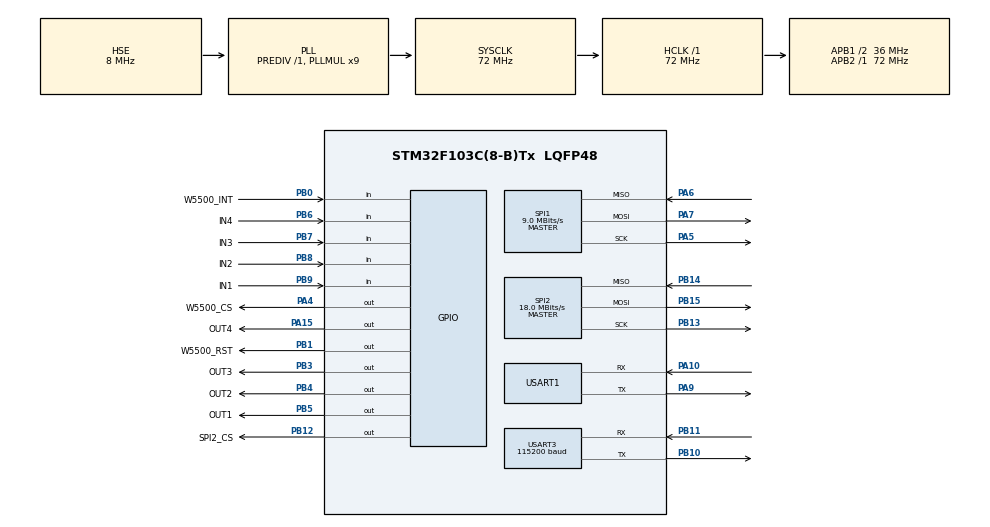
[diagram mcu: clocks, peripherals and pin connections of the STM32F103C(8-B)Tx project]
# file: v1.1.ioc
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Dma.Request0=USART1_RX
Dma.Request1=USART3_RX
Dma.USART1_RX.0.Direction=DMA_PERIPH_TO_MEMORY
Dma.USART1_RX.0.Instance=DMA1_Channel5
Dma.USART1_RX.0.MemDataAlignment=DMA_MDATAALIGN_BYTE
Dma.USART1_RX.0.MemInc=DMA_MINC_ENABLE
Dma.USART1_RX.0.Mode=DMA_NORMAL
Dma.USART1_RX.0.PeriphDataAlignment=DMA_PDATAALIGN_BYTE
Dma.USART1_RX.0.PeriphInc=DMA_PINC_DISABLE
Dma.USART1_RX.0.Priority=DMA_PRIORITY_LOW
Dma.USART3_RX.1.Direction=DMA_PERIPH_TO_MEMORY
Dma.USART3_RX.1.Instance=DMA1_Channel3
Dma.USART3_RX.1.MemDataAlignment=DMA_MDATAALIGN_BYTE
Dma.USART3_RX.1.MemInc=DMA_MINC_ENABLE
Dma.USART3_RX.1.Mode=DMA_NORMAL
Dma.USART3_RX.1.PeriphDataAlignment=DMA_PDATAALIGN_BYTE
Dma.USART3_RX.1.PeriphInc=DMA_PINC_DISABLE
Dma.USART3_RX.1.Priority=DMA_PRIORITY_LOW
Mcu.Family=STM32F1
Mcu.Name=STM32F103C(8-B)Tx
Mcu.Package=LQFP48
NVIC.DMA1_Channel3_IRQn=true\:0\:0\:false\:false\:true\:false\:true\:true
NVIC.DMA1_Channel5_IRQn=true\:0\:0\:false\:false\:true\:false\:true\:true
NVIC.PriorityGroup=NVIC_PRIORITYGROUP_4
NVIC.TIM2_IRQn=true\:0\:0\:false\:false\:true\:true\:true\:true
NVIC.USART1_IRQn=true\:0\:0\:false\:false\:true\:true\:true\:true
NVIC.USART3_IRQn=true\:0\:0\:false\:false\:true\:true\:true\:true
PA10.Mode=Asynchronous
PA10.Signal=USART1_RX
PA13.Mode=Serial_Wire
PA13.Signal=SYS_JTMS-SWDIO
PA14.Mode=Serial_Wire
PA14.Signal=SYS_JTCK-SWCLK
PA15.GPIO_Label=OUT4
PA15.Signal=GPIO_Output
PA4.GPIO_Label=W5500_CS
PA4.Signal=GPIO_Output
PA5.Mode=Full_Duplex_Master
PA5.Signal=SPI1_SCK
PA6.Mode=Full_Duplex_Master
PA6.Signal=SPI1_MISO
PA7.Mode=Full_Duplex_Master
PA7.Signal=SPI1_MOSI
PA9.Mode=Asynchronous
PA9.Signal=USART1_TX
PB0.GPIO_Label=W5500_INT
PB0.Signal=GPIO_Input
PB1.GPIO_Label=W5500_RST
PB1.GPIO_Speed=GPIO_SPEED_FREQ_MEDIUM
PB1.Signal=GPIO_Output
PB10.Mode=Asynchronous
PB10.Signal=USART3_TX
PB11.Mode=Asynchronous
PB11.Signal=USART3_RX
PB12.GPIO_Label=SPI2_CS
PB12.GPIO_Speed=GPIO_SPEED_FREQ_HIGH
PB12.PinState=GPIO_PIN_SET
PB12.Signal=GPIO_Output
PB13.Mode=Full_Duplex_Master
PB13.Signal=SPI2_SCK
PB14.Mode=Full_Duplex_Master
PB14.Signal=SPI2_MISO
PB15.Mode=Full_Duplex_Master
PB15.Signal=SPI2_MOSI
PB3.GPIO_Label=OUT3
PB3.Signal=GPIO_Output
PB4.GPIO_Label=OUT2
PB4.Signal=GPIO_Output
PB5.GPIO_Label=OUT1
PB5.Signal=GPIO_Output
PB6.GPIO_Label=IN4
PB6.Signal=GPIO_Input
PB7.GPIO_Label=IN3
PB7.Signal=GPIO_Input
PB8.GPIO_Label=IN2
PB8.Signal=GPIO_Input
PB9.GPIO_Label=IN1
PB9.Signal=GPIO_Input
PC14-OSC32_IN.Mode=LSE-External-Oscillator
PC14-OSC32_IN.Signal=RCC_OSC32_IN
PC15-OSC32_OUT.Mode=LSE-External-Oscillator
PC15-OSC32_OUT.Signal=RCC_OSC32_OUT
PD0-OSC_IN.Mode=HSE-External-Oscillator
PD0-OSC_IN.Signal=RCC_OSC_IN
PD1-OSC_OUT.Mode=HSE-External-Oscillator
PD1-OSC_OUT.Signal=RCC_OSC_OUT
ProjectManager.HeapSize=0x200
ProjectManager.StackSize=0x400
ProjectManager.TargetToolchain=MDK-ARM V5.32
RCC.AHBFreq_Value=72000000
RCC.APB1CLKDivider=RCC_HCLK_DIV2
RCC.APB1Freq_Value=36000000
RCC.APB1TimFreq_Value=72000000
RCC.APB2Freq_Value=72000000
RCC.APB2TimFreq_Value=72000000
RCC.HCLKFreq_Value=72000000
RCC.PLLMUL=RCC_PLL_MUL9
RCC.PLLSourceVirtual=RCC_PLLSOURCE_HSE
RCC.SYSCLKFreq_VALUE=72000000
RCC.SYSCLKSource=RCC_SYSCLKSOURCE_PLLCLK
RCC.USBFreq_Value=72000000
SPI1.BaudRatePrescaler=SPI_BAUDRATEPRESCALER_8
SPI1.CalculateBaudRate=9.0 MBits/s
SPI1.Direction=SPI_DIRECTION_2LINES
SPI1.Mode=SPI_MODE_MASTER
SPI1.VirtualType=VM_MASTER
SPI2.CalculateBaudRate=18.0 MBits/s
SPI2.Direction=SPI_DIRECTION_2LINES
SPI2.Mode=SPI_MODE_MASTER
SPI2.VirtualType=VM_MASTER
TIM2.Period=10000-1
TIM2.Prescaler=7200-1
USART1.VirtualMode=VM_ASYNC
USART3.BaudRate=115200
USART3.VirtualMode=VM_ASYNC
VP_TIM2_VS_ClockSourceINT.Mode=Internal
board=custom

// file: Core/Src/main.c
/* USER CODE BEGIN Header */
/**
  ******************************************************************************
  * @file           : main.c
  * @brief          : Main program body
  ******************************************************************************
  * @attention
  *
  * Copyright (c) 2026 STMicroelectronics.
  * All rights reserved.
  *
  * This software is licensed under terms that can be found in the LICENSE file
  * in the root directory of this software component.
  * If no LICENSE file comes with this software, it is provided AS-IS.
  *
  ******************************************************************************
  */
/* USER CODE END Header */
#include "main.h"
#include "dma.h"
#include "spi.h"
#include "tim.h"
#include "usart.h"
#include "gpio.h"

/* USER CODE BEGIN Includes */
#include "digital.h"
#include "stdio.h"

#include "lfs_user.h"
#include "msh.h"
#include "app_w25qxx.h"
#include "app_w5500.h"

/* USER CODE END Includes */

void SystemClock_Config(void);

/* USER CODE BEGIN 0 */
uint8_t u1_rx[256];
uint8_t u3_rx[256];

#define COUNT 1024
/* Redirect printf to USART1 */

int fputc(int ch, FILE *f)
{
  HAL_UART_Transmit(&huart1, (uint8_t*)&ch, 1, HAL_MAX_DELAY);
	return ch;
}

/* network information */
uint8_t test = 0;
uint32_t boot = 0;
/* USER CODE END 0 */

int main(void)
{

  /* MCU Configuration--------------------------------------------------------*/

  /* Reset of all peripherals, Initializes the Flash interface and the Systick. */
  HAL_Init();

  /* Configure the system clock */
  SystemClock_Config();

  /* Initialize all configured peripherals */
  MX_GPIO_Init();
  MX_DMA_Init();
  MX_USART1_UART_Init();
  MX_USART3_UART_Init();
  MX_SPI1_Init();
  MX_TIM2_Init();
  MX_SPI2_Init();
  /* USER CODE BEGIN 2 */
	HAL_UARTEx_ReceiveToIdle_DMA(&huart1 , u1_rx , sizeof(u1_rx));
	HAL_UARTEx_ReceiveToIdle_DMA(&huart3 , u3_rx , sizeof(u3_rx));
	HAL_TIM_Base_Start_IT(&htim2);
		/* wizchip init */

	lfs_info_init(1);
	test_folder_and_file();
	/* read flash dest ip and port*/
	lfs_user_read(dir_path , dest_ip_path , socket_0_tcp_dest_ip , sizeof(socket_0_tcp_dest_ip));
	lfs_user_read(dir_path , dest_port_path , (uint8_t *)&socket_0_tcp_dest_port , sizeof(socket_0_tcp_dest_port));
	msh_init();
	wizchip_initialize();

//	app_w25qxx_chip_erase();

  /* USER CODE END 2 */

  /* Infinite loop */
  /* USER CODE BEGIN WHILE */
  while (1)
  {

    /* Maintain existing digital I/O */
    Set_digital(0 , 1);
    Set_digital(1 , 0);
    Set_digital(2 , 1);
    Set_digital(3 , 0);
    msh_process();
    Set_digital_State_refresh();
//		loopback_tcpc(SOCKET_ID, ethernet_buf, dest_ip, dest_port);
		network_proc();

    HAL_Delay(100);

    /* USER CODE END WHILE */

  }
}

void SystemClock_Config(void)
{
  RCC_OscInitTypeDef RCC_OscInitStruct = {0};
  RCC_ClkInitTypeDef RCC_ClkInitStruct = {0};

  /** Initializes the RCC Oscillators according to the specified parameters
  * in the RCC_OscInitTypeDef structure.
  */
  RCC_OscInitStruct.OscillatorType = RCC_OSCILLATORTYPE_HSE;
  RCC_OscInitStruct.HSEState = RCC_HSE_ON;
  RCC_OscInitStruct.HSEPredivValue = RCC_HSE_PREDIV_DIV1;
  RCC_OscInitStruct.HSIState = RCC_HSI_ON;
  RCC_OscInitStruct.PLL.PLLState = RCC_PLL_ON;
  RCC_OscInitStruct.PLL.PLLSource = RCC_PLLSOURCE_HSE;
  RCC_OscInitStruct.PLL.PLLMUL = RCC_PLL_MUL9;
  if (HAL_RCC_OscConfig(&RCC_OscInitStruct) != HAL_OK)
  {
    Error_Handler();
  }

  /** Initializes the CPU, AHB and APB buses clocks
  */
  RCC_ClkInitStruct.ClockType = RCC_CLOCKTYPE_HCLK|RCC_CLOCKTYPE_SYSCLK
                              |RCC_CLOCKTYPE_PCLK1|RCC_CLOCKTYPE_PCLK2;
  RCC_ClkInitStruct.SYSCLKSource = RCC_SYSCLKSOURCE_PLLCLK;
  RCC_ClkInitStruct.AHBCLKDivider = RCC_SYSCLK_DIV1;
  RCC_ClkInitStruct.APB1CLKDivider = RCC_HCLK_DIV2;
  RCC_ClkInitStruct.APB2CLKDivider = RCC_HCLK_DIV1;

  if (HAL_RCC_ClockConfig(&RCC_ClkInitStruct, FLASH_LATENCY_2) != HAL_OK)
  {
    Error_Handler();
  }
}

/* USER CODE BEGIN 4 */
void HAL_UARTEx_RxEventCallback(UART_HandleTypeDef *huart, uint16_t Size)
{
	if(huart->Instance == USART1){
		msh_rx_data(u1_rx , Size);
	}else if(huart->Instance == USART3){

	}
}

void HAL_TIM_PeriodElapsedCallback(TIM_HandleTypeDef *htim)
{
	if(htim->Instance == TIM2)
	{
		DHCP_time_handler();
		tcp_1s_callback();
	}
}
/* USER CODE END 4 */

void Error_Handler(void)
{
  __disable_irq();
  while (1)
  {
  }
}
